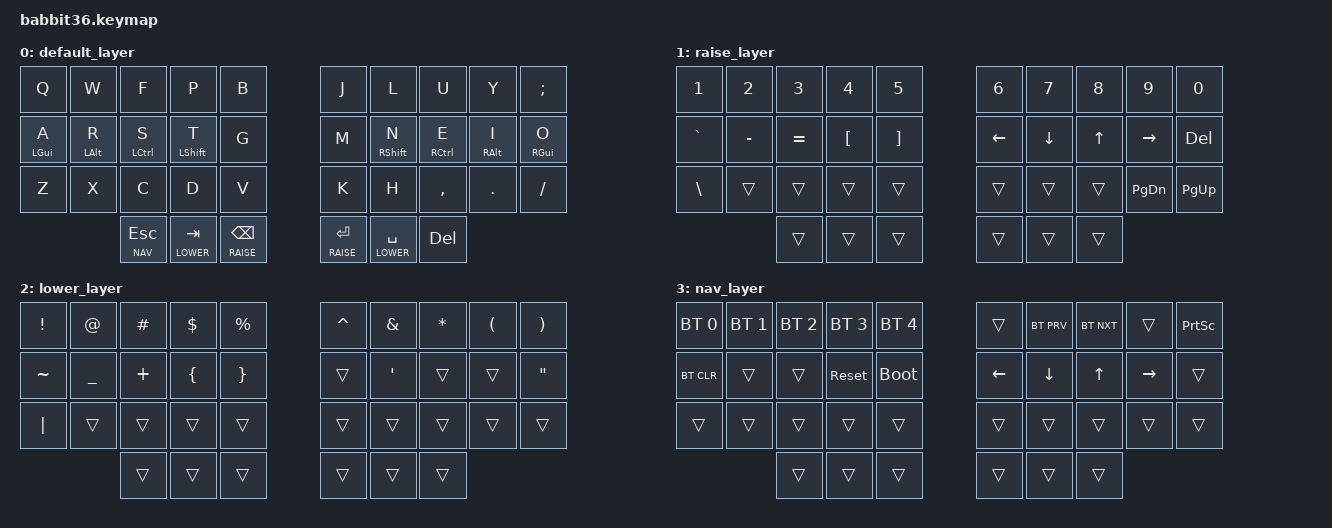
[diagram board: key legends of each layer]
/*
 * Copyright (c) 2020 The ZMK Contributors
 *
 * SPDX-License-Identifier: MIT
 */

#include <behaviors.dtsi>
#include <dt-bindings/zmk/keys.h>
#include <dt-bindings/zmk/bt.h>

#define RAISE  1
#define LOWER  2
#define NAV    3

&lt {
    quick-tap-ms = <200>;
    flavor = "balanced";
};

/ {
    behaviors {
        hml: home_row_mods_left {
            compatible = "zmk,behavior-hold-tap";
            #binding-cells = <2>;
            flavor = "balanced";
            tapping-term-ms = <200>;
            quick-tap-ms = <175>;
            require-prior-idle-ms = <100>;
            bindings = <&kp>, <&kp>;
            // Keys on right half trigger left-side mods
            hold-trigger-key-positions = <5 6 7 8 9 15 16 17 18 19 25 26 27 28 29 33 34 35>;
            hold-trigger-on-release;
        };
        hmr: home_row_mods_right {
            compatible = "zmk,behavior-hold-tap";
            #binding-cells = <2>;
            flavor = "balanced";
            tapping-term-ms = <200>;
            quick-tap-ms = <175>;
            require-prior-idle-ms = <100>;
            bindings = <&kp>, <&kp>;
            // Keys on left half trigger right-side mods
            hold-trigger-key-positions = <0 1 2 3 4 10 11 12 13 14 20 21 22 23 24 30 31 32>;
            hold-trigger-on-release;
        };
    };

    keymap {
        compatible = "zmk,keymap";

        default_layer {
            bindings = <
// ╭───────────┬──────────┬──────────┬──────────┬──────────╮   ╭──────────┬──────────┬──────────┬──────────┬──────────╮
      &kp Q       &kp W     &kp F     &kp P     &kp B         &kp J     &kp L     &kp U     &kp Y    &kp SEMI
// ├───────────┼──────────┼──────────┼──────────┼──────────┤   ├──────────┼──────────┼──────────┼──────────┼──────────┤
    &hml LGUI A &hml LALT R &hml LCTRL S &hml LSHFT T  &kp G    &kp M   &hmr RSHFT N &hmr RCTRL E &hmr RALT I &hmr RGUI O
// ├───────────┼──────────┼──────────┼──────────┼──────────┤   ├──────────┼──────────┼──────────┼──────────┼──────────┤
      &kp Z      &kp X      &kp C     &kp D     &kp V         &kp K     &kp H    &kp COMMA   &kp DOT   &kp FSLH
// ╰───────────┴──────────┼──────────┼──────────┼──────────┤   ├──────────┼──────────┼──────────┴──────────┴──────────╯
                    &lt NAV ESC  &lt LOWER TAB   &lt RAISE BSPC    &lt RAISE RET  &lt LOWER SPACE  &kp DEL
//                 ╰──────────┴──────────┴──────────╯   ╰──────────┴──────────┴──────────╯
            >;
        };

        raise_layer {
            bindings = <
// ╭───────────┬──────────┬──────────┬──────────┬──────────╮   ╭──────────┬──────────┬──────────┬──────────┬──────────╮
      &kp N1     &kp N2    &kp N3    &kp N4    &kp N5        &kp N6    &kp N7    &kp N8    &kp N9    &kp N0
// ├───────────┼──────────┼──────────┼──────────┼──────────┤   ├──────────┼──────────┼──────────┼──────────┼──────────┤
      &kp GRAVE  &kp MINUS &kp EQUAL &kp LBKT  &kp RBKT      &kp LEFT  &kp DOWN  &kp UP   &kp RIGHT &kp DEL
// ├───────────┼──────────┼──────────┼──────────┼──────────┤   ├──────────┼──────────┼──────────┼──────────┼──────────┤
      &kp BSLH   &trans    &trans    &trans    &trans         &trans    &trans    &trans    &kp PG_DN &kp PG_UP
// ╰───────────┴──────────┼──────────┼──────────┼──────────┤   ├──────────┼──────────┼──────────┴──────────┴──────────╯
                           &trans     &trans     &trans          &trans     &trans     &trans
//                       ╰──────────┴──────────┴──────────╯   ╰──────────┴──────────┴──────────╯
            >;
        };

        lower_layer {
            bindings = <
// ╭───────────┬──────────┬──────────┬──────────┬──────────╮   ╭──────────┬──────────┬──────────┬──────────┬──────────╮
      &kp EXCL   &kp AT    &kp HASH  &kp DLLR  &kp PRCNT      &kp CARET &kp AMPS  &kp STAR  &kp LPAR  &kp RPAR
// ├───────────┼──────────┼──────────┼──────────┼──────────┤   ├──────────┼──────────┼──────────┼──────────┼──────────┤
      &kp TILDE  &kp UNDER &kp PLUS  &kp LBRC  &kp RBRC       &trans    &kp SQT   &trans    &trans    &kp DQT
// ├───────────┼──────────┼──────────┼──────────┼──────────┤   ├──────────┼──────────┼──────────┼──────────┼──────────┤
      &kp PIPE   &trans    &trans    &trans    &trans         &trans    &trans    &trans    &trans    &trans
// ╰───────────┴──────────┼──────────┼──────────┼──────────┤   ├──────────┼──────────┼──────────┴──────────┴──────────╯
                           &trans     &trans     &trans          &trans     &trans     &trans
//                       ╰──────────┴──────────┴──────────╯   ╰──────────┴──────────┴──────────╯
            >;
        };

        nav_layer {
            bindings = <
// ╭──────────────┬──────────────┬──────────────┬──────────────┬──────────────╮   ╭────────────┬────────────┬──────────┬──────────┬──────────╮
      &bt BT_SEL 0  &bt BT_SEL 1  &bt BT_SEL 2  &bt BT_SEL 3  &bt BT_SEL 4       &trans     &bt BT_PRV  &bt BT_NXT &trans    &kp PSCRN
// ├──────────────┼──────────────┼──────────────┼──────────────┼──────────────┤   ├────────────┼────────────┼──────────┼──────────┼──────────┤
      &bt BT_CLR    &trans        &trans        &sys_reset    &bootloader        &kp LEFT    &kp DOWN    &kp UP     &kp RIGHT &trans
// ├──────────────┼──────────────┼──────────────┼──────────────┼──────────────┤   ├────────────┼────────────┼──────────┼──────────┼──────────┤
      &trans        &trans        &trans        &trans        &trans             &trans      &trans      &trans     &trans    &trans
// ╰──────────────┴──────────────┼──────────────┼──────────────┼──────────────┤   ├────────────┼────────────┼──────────┴──────────┴──────────╯
                                  &trans        &trans        &trans             &trans      &trans      &trans
//                              ╰──────────────┴──────────────┴──────────────╯   ╰────────────┴────────────┴──────────╯
            >;
        };
    };
};
